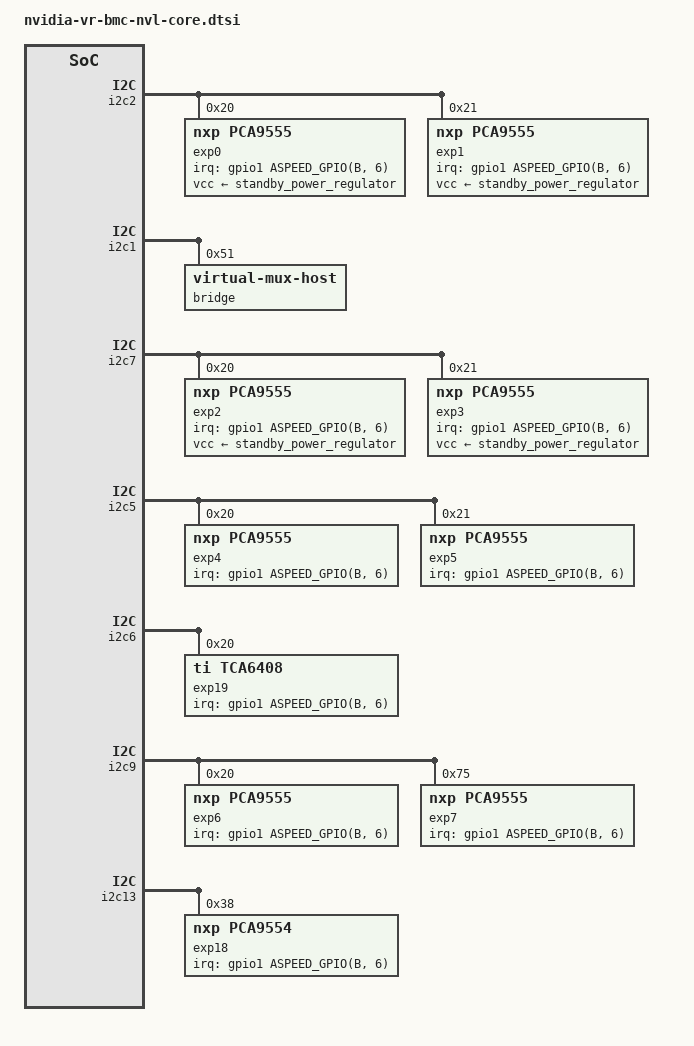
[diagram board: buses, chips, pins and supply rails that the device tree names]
// SPDX-License-Identifier: GPL-2.0+
/dts-v1/;

#include "aspeed-g6.dtsi"
#include <dt-bindings/gpio/aspeed-gpio.h>

&gpio0 {
    gpio-line-names =

    /* gpio-line-names are the combination of <signal>-<I/O> , "" is the placeholder for the unused pins*/

    /* 208 (26*8) 3.3V GPIOs */

    /*A0-A7*/
    "", "", "", "", "", "", "", "",

    /*B0-B7*/
    "", "", "", "", "", "", "", "",

    /*C0-C7*/
    "",
    "BF4_USB_RST_L-O", "", "", "", "", "", "",

    /*D0-D7*/
    "", "", "",
    "",
    "",
    "FPGA_PEX_RST_L",
    "", "",

    /*E0-E7*/
    "RTL8221_PHY_RST_L-O",
    "RTL8211_PHY_INT_L-I",
    "",
    "",
    "", "", "",
    "MUX_SGPIO_SEL-O",

    /*F0-F7*/
    "", "", "", "", "", "", "", "",

    /*G0-G7*/
    "", "", "", "", "", "", "", "",

    /*H0-H7*/
    "", "", "", "", "", "", "", "",

    /*I0-I7*/
    "", "", "", "", "",
    "QSPI2_RST_L-O",
    "GLOBAL_WP_BMC-I",
    "BMC_DDR4_TEN-O",

    /*J0-J7*/
    "", "", "", "", "", "", "", "",

    /*K0-K7*/
    "", "", "", "", "", "", "", "",

    /*L0-L7*/
    "", "", "", "", "", "", "", "",

    /*M0-M7*/
    "USB_HUB_RST_N-O",
    "BMC_FRU_WP-O",
    "",
    "HMC_STBY_POWER_EN-O",
    "STBY_POWER_PG-I",
    "PCIE_EP_RST_L-O",
    "", "",

    /*N0-N7*/
    "", "", "", "", "", "", "", "",

    /*O0-O7*/
    "", "", "", "", "", "", "", "",

    /*P0-P7*/
    "", "", "", "", "", "", "", "",

    /*Q0-Q7*/
    "", "", "", "", "", "", "", "",

    /*R0-R7*/
    "", "SP0_AP_INTR_N-I",
    "", "", "", "", "", "",

    /*S0-S7*/
    "", "", "", "", "", "", "", "",

    /*T0-T7*/
    "", "", "", "", "", "", "", "",

    /*U0-U7*/
    "", "", "", "", "", "", "", "",

    /*V0-V7*/
    "", "", "", "", "",
    "PCB_TEMP_ALERT-I",
    "", "",

    /*W0-W7*/
    "", "", "", "", "", "", "",
    "CPU_RST_L-I",

    /*X0-X7*/
    "", "",
    "",
    "", "", "", "", "",

    /*Y0-Y7*/
    "", "", "",
    "EMMC_RST-O",
    "","", "", "",

    /*Z0-Z7*/
    "HMC_EROT_SPI_INT_L-I",
    "", "", "", "", "", "", "";
};

&gpio1 {
    /* 36 1.8V GPIOs */
    gpio-line-names =
    /*A0-A7*/
    "", "", "", "", "", "", "", "",

    /*B0-B7*/
    "", "", "", "",
    "AP_EROT_REQ-O",
    "EROT_AP_GNT-I",
    "IO_EXPANDER_INT_L-I",
    "",

    /*C0-C7*/
    "", "", "", "", "", "", "", "",

    /*D0-D7*/
    "", "", "", "", "", "", "",
    "I2C_SSIF_ALERT_L-I",

    /*E0-E7*/
    "", "", "", "", "", "", "", "";
};

// I2C3 GPIO Expander
&i2c2 {
    // MGMT0 BOARD0, Expander @0x20
    exp0: pca9555@20 {
        compatible = "nxp,pca9555";
        reg = <0x20>;
        gpio-controller;
        #gpio-cells = <2>;

        #address-cells = <1>;
        #size-cells = <0>;
        interrupt-controller;
        #interrupt-cells = <2>;
        interrupt-parent = <&gpio1>;
        interrupts = <ASPEED_GPIO(B, 6) IRQ_TYPE_LEVEL_LOW>;
        vcc-supply = <&standby_power_regulator>;
        gpio-line-names =
            "B0_M0_SHDN_FORCE_L-O",
            "B0_M0_STBY_POWER_PG-I",
            "B0_M0_THERM_OVERT_L-I",
            "B0_M0_THERM_WARN_L-I",
            "B0_M0_GLOBAL_WP-O",
            "B0_M0_USB_HUB0_RST_L-O",
            "B0_M0_PRE_SYS_RST_L-O",
            "B0_M0_LEAK_DETECT_ALERT_L-I",
            "B0_M0_RUN_POWER_EN-O",
            "B0_M0_RUN_POWER_PG-I",
            "B0_M0_CPU_CHIPTHROT_L-O",
            "B0_M0_SHDN_REQ_L-O",
            "B0_M0_CPU_SHDN_OK_L-I",
            "B0_M0_CPLD_READY-I",
            "B0_M0_PWR_BRAKE_L-O",
            "B0_M0_PWR_BRAKE_STATUS_L-I";
    };

    // MGMT0 BOARD0, Expander @0x21
    exp1: pca9555@21 {
        compatible = "nxp,pca9555";
        reg = <0x21>;
        gpio-controller;
        #gpio-cells = <2>;

        #address-cells = <1>;
        #size-cells = <0>;
        interrupt-controller;
        #interrupt-cells = <2>;
        interrupt-parent = <&gpio1>;
        interrupts = <ASPEED_GPIO(B, 6) IRQ_TYPE_LEVEL_LOW>;
        vcc-supply = <&standby_power_regulator>;

        gpio-line-names =
            "B0_M0_I2C_BUS_MUX_RESET_L-O",
            "B0_M0_HPM_MCU_OK-I",
            "B0_M0_CPU_L0_RST_IND_L-O",
            "B0_M0_C0_SOCAMM_DAC_SEL0-O",
            "B0_M0_C1_SOCAMM_DAC_SEL1-O",
            "B0_M0_C0_SOCAMM_I2C_SEL_R-O",
            "B0_M0_C1_SOCAMM_I2C_SEL_R-O",
            "B0_M0_EEPROM_POWER_DISABLE-O",
            "B0_M0_L0L1_RST_L-I",
            "B0_M0_L2_RST_L-I",
            "B0_M0_BRD_ID_0-I",
            "B0_M0_BRD_ID_1-I",
            "B0_M0_BMC_LEAK_TEST_L-O",
            "B0_M0_MCU_BMC_ALERT_L-I",
            "B0_M0_CPU_BOOT_COMPLETE_3V3-I",
            "B0_M0_BMC_TO_GPU_MCU_I2C_EN-O";
    };

};

&i2c1 {
    // Host I2C bridge to remote FRU client (no children yet)
    bridge@51 {
        compatible = "virtual-mux-host";
        reg = <0x51>;
        virtual-bus-num = <90>;
        status = "okay";
    };
};

// I2C8 GPIO Expander
&i2c7 {
    // MGMT0 BOARD1, Expander @0x20
    exp2: pca9555@20 {
        compatible = "nxp,pca9555";
        reg = <0x20>;
        gpio-controller;
        #gpio-cells = <2>;

        #address-cells = <1>;
        #size-cells = <0>;
        interrupt-controller;
        #interrupt-cells = <2>;
        interrupt-parent = <&gpio1>;
        interrupts = <ASPEED_GPIO(B, 6) IRQ_TYPE_LEVEL_LOW>;
        vcc-supply = <&standby_power_regulator>;
        gpio-line-names =
            "B1_M0_SHDN_FORCE_L-O",
            "B1_M0_STBY_POWER_PG-I",
            "B1_M0_THERM_OVERT_L-I",
            "B1_M0_THERM_WARN_L-I",
            "B1_M0_GLOBAL_WP-O",
            "B1_M0_USB_HUB0_RST_L-O",
            "B1_M0_PRE_SYS_RST_L-O",
            "B1_M0_LEAK_DETECT_ALERT_L-I",
            "B1_M0_RUN_POWER_EN-O",
            "B1_M0_RUN_POWER_PG-I",
            "B1_M0_CPU_CHIPTHROT_L-O",
            "B1_M0_SHDN_REQ_L-O",
            "B1_M0_CPU_SHDN_OK_L-I",
            "B1_M0_CPLD_READY-I",
            "B1_M0_PWR_BRAKE_L-O",
            "B1_M0_PWR_BRAKE_STATUS_L-I";
    };

    // MGMT0 BOARD1, Expander @0x21
    exp3: pca9555@21 {
        compatible = "nxp,pca9555";
        reg = <0x21>;
        gpio-controller;
        #gpio-cells = <2>;

        #address-cells = <1>;
        #size-cells = <0>;
        interrupt-controller;
        #interrupt-cells = <2>;
        interrupt-parent = <&gpio1>;
        interrupts = <ASPEED_GPIO(B, 6) IRQ_TYPE_LEVEL_LOW>;
        vcc-supply = <&standby_power_regulator>;

        gpio-line-names =
            "B1_M0_I2C_BUS_MUX_RESET_L-O",
            "B1_M0_HPM_MCU_OK-I",
            "B1_M0_CPU_L0_RST_IND_L-O",
            "B1_M0_C0_SOCAMM_DAC_SEL0-O",
            "B1_M0_C1_SOCAMM_DAC_SEL1-O",
            "B1_M0_C0_SOCAMM_I2C_SEL_R-O",
            "B1_M0_C1_SOCAMM_I2C_SEL_R-O",
            "B1_M0_EEPROM_POWER_DISABLE-O",
            "B1_M0_L0L1_RST_L-I",
            "B1_M0_L2_RST_L-I",
            "B1_M0_BRD_ID_0-I",
            "B1_M0_BRD_ID_1-I",
            "B1_M0_BMC_LEAK_TEST_L-O",
            "B1_M0_MCU_BMC_ALERT_L-I",
            "B1_M0_CPU_BOOT_COMPLETE_3V3-I",
            "B1_M0_BMC_TO_GPU_MCU_I2C_EN-O";
    };
};

// I2C5 SMM Carrier GPIO Expander
&i2c5 {
    exp4: pca9555@20 {
        compatible = "nxp,pca9555";
        reg = <0x20>;
        gpio-controller;
        #gpio-cells = <2>;

        #address-cells = <1>;
        #size-cells = <0>;
        interrupt-controller;
        #interrupt-cells = <2>;
        interrupt-parent = <&gpio1>;
        interrupts = <ASPEED_GPIO(B, 6) IRQ_TYPE_LEVEL_LOW>;
        gpio-line-names =
            "HMC_RST_R_L-O",
            "HMC_RECOVERY_R-O",
            "HMC_SPI_MUX_R_SEL-O",
            "GLOBAL_WP-O",
            "HMC_READY-I",
            "HMC_PRSNT_R-I",
            "BMC_SELF_PWR_CYCLE-O",
            "EEDO_LED2-O",
            "PWR_LED_L-O",
            "PWR_BTN_L-I",
            "UID_LED_L-O",
            "UID_BTN_L-I",
            "FAULT_LED_L-O",
            "USB2_HUB_RST_L-O",
            "IOX_GPIO_P16_TP",
            "WARN_LED_L-O";
    };

    exp5: pca9555@21 {
        compatible = "nxp,pca9555";
        reg = <0x21>;
        gpio-controller;
        #gpio-cells = <2>;

        #address-cells = <1>;
        #size-cells = <0>;
        interrupt-controller;
        #interrupt-cells = <2>;
        interrupt-parent = <&gpio1>;
        interrupts = <ASPEED_GPIO(B, 6) IRQ_TYPE_LEVEL_LOW>;
        gpio-line-names =
            "BMC_HMC_MUX_SEL-O",
            "BMC_TPM_MUX_SEL-O",
            "BMC_USB2_MUX_SEL-O",
            "HMC_PGOOD_3V3-I",
            "BF3_AOC_NCSI_PRSNT_L-I",
            "HDR_SPI_PRSNT_L-I",
            "SW_NRESET_R_L-O",
            "MUX_I2C_ESPI_SEL-O",
            "I2C_BUS_MUX_RESET_L-O",
            "USB_MUX_EN-O",
            "PDB_TRAY_RST-O",
            "USB_PWR_EN-O",
            "RTC_CLR_L-O",
            "I2C_RTC_ALERT_L-I",
            "X86_TPM_RST_SEL_L-O",
            "BMC_MUX_PI3DP_SEL-O";
    };
};

&i2c6 {
    exp19: tca6408@20 {
        compatible = "ti,tca6408";
        reg = <0x20>;
        gpio-controller;
        #gpio-cells = <2>;

        interrupt-controller;
        #interrupt-cells = <2>;
        interrupt-parent = <&gpio1>;
        interrupts = <ASPEED_GPIO(B, 6) IRQ_TYPE_LEVEL_LOW>;

        gpio-line-names =
            "",
            "",
            "HMC_EROT_FATAL_ERROR_L-I",
            "",
            "",
            "HMC_EROT_RECOVERY_L-O",
            "HMC_EROT_RESET_L-O",
            "";
    };
};

// I2C9 PDB GPIO Expander
&i2c9 {
    exp6: pca9555@20 {
        compatible = "nxp,pca9555";
        reg = <0x20>;
        gpio-controller;
        #gpio-cells = <2>;

        #address-cells = <1>;
        #size-cells = <0>;
        interrupt-controller;
        #interrupt-cells = <2>;
        interrupt-parent = <&gpio1>;
        interrupts = <ASPEED_GPIO(B, 6) IRQ_TYPE_LEVEL_LOW>;
        gpio-line-names =
            "PDB_STRAP-I",
            "STBY_POWER_EN-O",
            "STBY_PWR_OK-I",
            "",
            "",
            "MAIN_PWR_EN-O",
            "MAIN_PWR_OK-I",
            "PDB_GLB_WP-O",
            "PDB_PWR_BRK_L-I",
            "FAN_PRSNT-I",
            "",
            "",
            "HSC4_S5_OR_S0_N-O",
            "",
            "",
            "";
    };

    exp7: pca9555@75 {
        compatible = "nxp,pca9555";
        reg = <0x75>;
        gpio-controller;
        #gpio-cells = <2>;

        #address-cells = <1>;
        #size-cells = <0>;
        interrupt-controller;
        #interrupt-cells = <2>;
        interrupt-parent = <&gpio1>;
        interrupts = <ASPEED_GPIO(B, 6) IRQ_TYPE_LEVEL_LOW>;
        gpio-line-names =
            "SNN_PDB_RUN_IO0_A_R_PG-I",
            "RST_STBY_R_L-O",
            "SNN_PDB_RUN_IO0_B_R_EN-O",
            "PSU1_PRSNT_R_N-O",
            "PSU2_PRSNT_R_N-O",
            "PSU3_PRSNT_R_N-O",
            "PSU4_PRSNT_R_N-O",
            "PDB_12V_PG_R-I",
            "PDB_12V_2_PG_R-I",
            "PDB_12V_2_EN_R-O",
            "PDB_12V_EN_N_R-O",
            "",
            "HSC_PG_VIN_PG_R-I",
            "PDB_PSU_SMB_ALERT_L_R-O",
            "SNN_JSB2_17_R-I",
            "TRAY_RST_L_R-I";
    };

};

// I2C13 E1S/SSD  GPIO Expander
&i2c13 {
    exp18: pca9554@38 {
        compatible = "nxp,pca9554";
        reg = <0x38>;
        gpio-controller;
        #gpio-cells = <2>;

        #address-cells = <1>;
        #size-cells = <0>;
        interrupt-controller;
        #interrupt-cells = <2>;
        interrupt-parent = <&gpio1>;
        interrupts = <ASPEED_GPIO(B, 6) IRQ_TYPE_LEVEL_LOW>;
        gpio-line-names =
            "SSD0_PRSNT_L-I",
            "E1S_PWR_EN-O",
            "SSD0_PWRDIS-O",
            "I2C_PDB_ALERT_L-I",
            "BMC_SSD0_RST_L-O",
            "GLOBAL_WP_E1S-O",
            "12V_SSD0_PGD-I",
            "SSD0_LED-O";
    };
};

// EMMC group that excludes WP & CD pin
&pinctrl {
    pinctrl_emmcg9_default: emmcg9_default {
        function = "EMMC";
        groups = "EMMCG9";
    };
};

